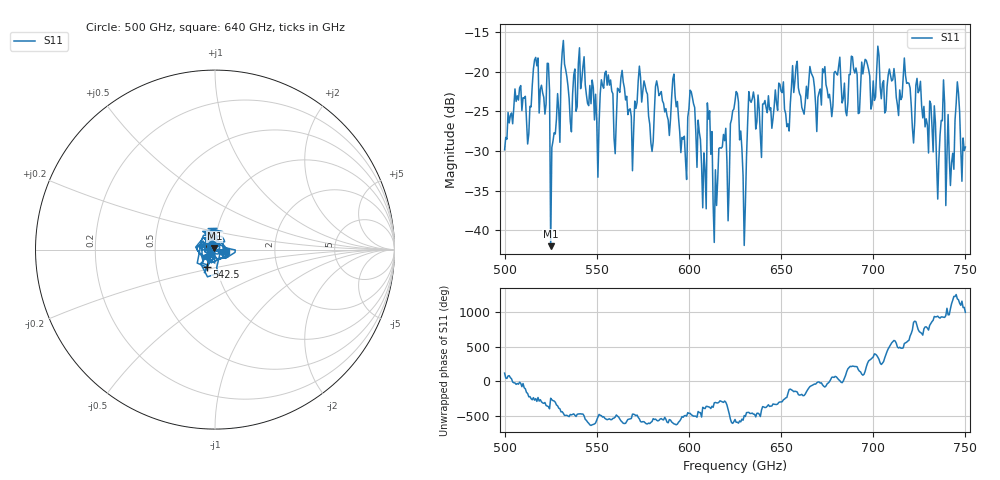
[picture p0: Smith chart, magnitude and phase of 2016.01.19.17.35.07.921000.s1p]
!Created with skrf (http://scikit-rf.org).
# GHz S RI R 50.0
!freq ReS11 ImS11
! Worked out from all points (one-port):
!   401 points, 500 GHz to 750 GHz, reference 50 ohm
!   lowest |S11| = -42.0 dB at 525 GHz (marker M1), VSWR 1.02, Z = 49.7 + j0.724 ohm
!   |S11| at or under -10 dB: start of sweep to end of sweep
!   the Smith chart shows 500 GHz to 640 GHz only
!   S11 on the Smith chart (normalised r, x): 500 GHz: 0.97, +0.05; 542.5 GHz: 0.89, -0.18; 640 GHz: 1.13, -0.02
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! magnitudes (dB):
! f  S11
! 500 GHz  -29.9
! 513.1 GHz  -27.9
! 516.9 GHz  -18.2
! 525 GHz  -42.0
! 531.2 GHz  -17.5
! 542.5 GHz  -19.4
! 550 GHz  -26.3
! 562.5 GHz  -22.6
! 568.8 GHz  -25.7
! 573.8 GHz  -20.7
! 593.8 GHz  -23.8
! 597.5 GHz  -28.1
! 601.9 GHz  -23.2
! 608.1 GHz  -30.2
! 611.2 GHz  -24.9
! 614.4 GHz  -32.4
! 625 GHz  -23.7
! 630 GHz  -41.9
! 633.8 GHz  -23.9
! 640 GHz  -24.1
! 656.2 GHz  -19.2
! 687.5 GHz  -20.4
! 718.8 GHz  -21.4
! 735 GHz  -36.1
! 737.5 GHz  -26.2
! 742.5 GHz  -31.5
! 745.6 GHz  -21.3
! 750 GHz  -29.5
